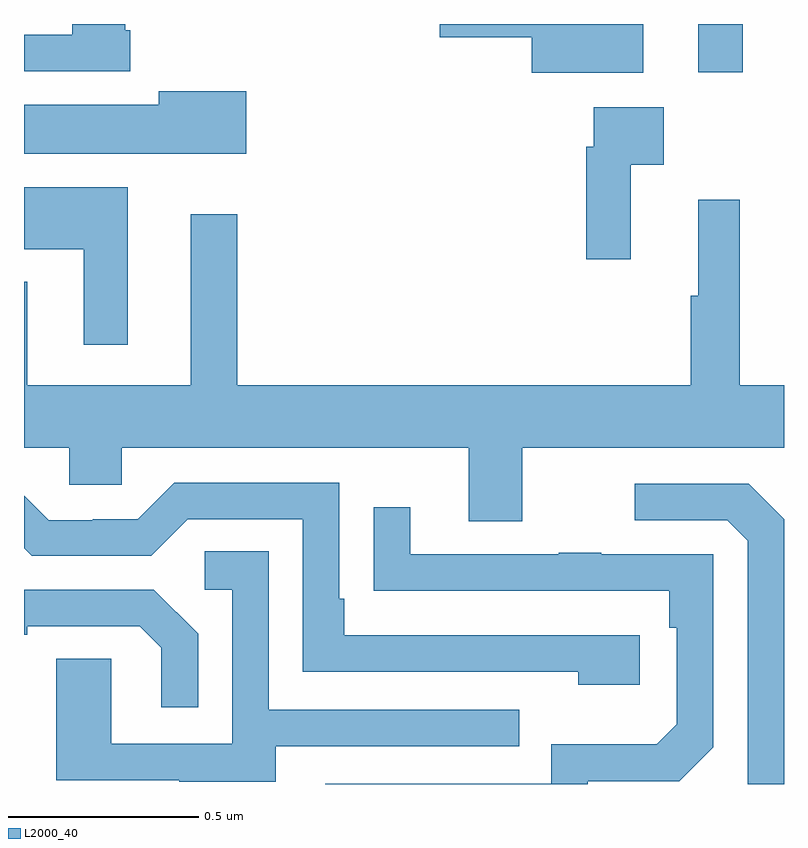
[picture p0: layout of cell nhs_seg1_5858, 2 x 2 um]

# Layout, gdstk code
import gdstk
lib = gdstk.Library(unit=1e-6, precision=1e-09)
def R(c, l, rs):  # rectangles x0, y0, x1, y1
    for r in rs: c.add(gdstk.rectangle(r[:2], r[2:], *l))
def P(c, l, *ps):  # polygons
    for p in ps: c.add(gdstk.Polygon(p, *l))
L2000_40 = (2000, 40)

nhs_seg1_5858 = lib.new_cell('nhs_seg1_5858')
R(nhs_seg1_5858, L2000_40, [(185.774,534.072,185.891,534.199)])
P(nhs_seg1_5858, L2000_40, [(185.629,534.199),(185.094,534.199),(185.094,534.164),(185.336,534.164),(185.336,534.071),(185.629,534.071)],
  [(184.28,534.183),(184.267,534.183),(184.267,534.199),(184.127,534.199),(184.127,534.171),(184,534.171),(184,534.075),(184.28,534.075)],
  [(184.585,534.022),(184.355,534.022),(184.355,533.986),(184,533.986),(184,533.858),(184.585,533.858)],
  [(185.597,533.828),(185.683,533.828),(185.683,533.98),(185.499,533.98),(185.499,533.876),(185.479,533.876),(185.479,533.58),(185.597,533.58)],
  [(184.273,533.77),(184,533.77),(184,533.606),(184.157,533.606),(184.157,533.355),(184.273,533.355)],
  [(185.311,533.084),(186,533.084),(186,533.248),(185.884,533.248),(185.884,533.737),(185.774,533.737),(185.774,533.484),(185.755,533.484),(185.755,533.248),(184.561,533.248),(184.561,533.698),(184.439,533.698),(184.439,533.248),(184.009,533.248),(184.009,533.521),(184,533.521),(184,533.084),(184.119,533.084),(184.119,532.986),(184.257,532.986),(184.257,533.084),(185.171,533.084),(185.171,532.89),(185.311,532.89)],
  [(185.62,532.59),(184.843,532.59),(184.843,532.687),(184.83,532.687),(184.83,532.992),(184.395,532.992),(184.299,532.896),(184.181,532.896),(184.181,532.893),(184.065,532.893),(184,532.958),(184,532.82),(184.02,532.8),(184.335,532.8),(184.431,532.896),(184.734,532.896),(184.734,532.494),(185.459,532.494),(185.459,532.46),(185.62,532.46)],
  [(186,532.896),(185.907,532.989),(185.607,532.989),(185.607,532.893),(185.85,532.893),(185.904,532.839),(185.904,532.199),(186,532.199)],
  [(185.484,532.206),(185.724,532.206),(185.814,532.296),(185.814,532.803),(185.519,532.803),(185.519,532.808),(185.407,532.808),(185.407,532.803),(185.017,532.803),(185.017,532.927),(184.921,532.927),(184.921,532.708),(185.023,532.708),(185.023,532.707),(185.698,532.707),(185.698,532.61),(185.718,532.61),(185.718,532.356),(185.665,532.303),(185.388,532.303),(185.388,532.2),(184.793,532.2),(184.793,532.199),(185.484,532.199)],
  [(184.663,532.299),(185.303,532.299),(185.303,532.395),(184.644,532.395),(184.644,532.811),(184.476,532.811),(184.476,532.71),(184.548,532.71),(184.548,532.305),(184.23,532.305),(184.23,532.529),(184.085,532.529),(184.085,532.209),(184.409,532.209),(184.409,532.205),(184.663,532.205)],
  [(184.458,532.594),(184.342,532.71),(184,532.71),(184,532.592),(184.009,532.592),(184.009,532.614),(184.304,532.614),(184.361,532.557),(184.361,532.401),(184.458,532.401)])

lib.write_gds('nhs_seg1_5858.gds')
